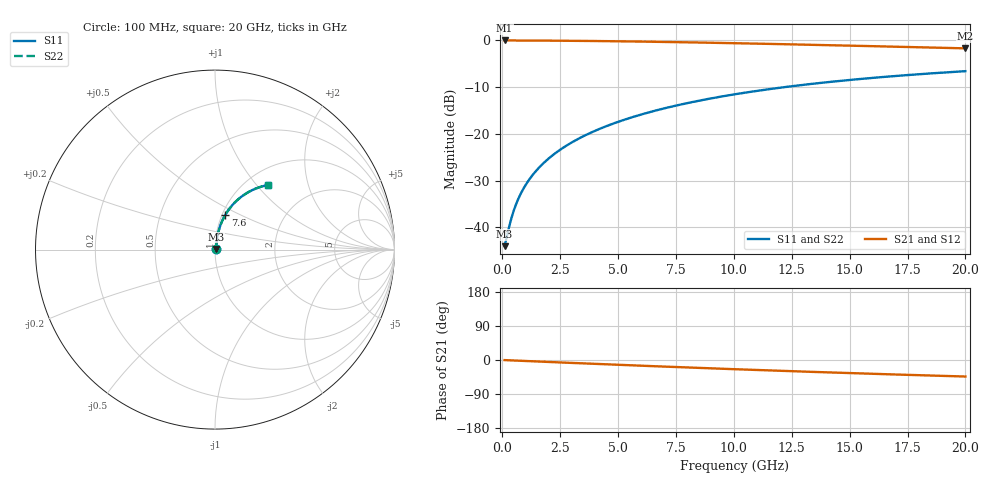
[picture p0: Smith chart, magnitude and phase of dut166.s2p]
! Touchstone file exported from HFSS 2024.1.0
!  File:  C:/UserFiles/LocalFiles/RDL_TSV_Batchsim/temp_RDL_top_166_1778685659.aedt
!  Generated:  11:23:13 PM May 13, 2026
!  Design:  RDL_top
!  Project:  temp_RDL_top_166_1778685659
!  Setup:  Setup1
!  Solution:  Sweep
! Variables:
!  dtsv = 10.80580581um
!  hbump = 3um
!  htsv = 99.98um
!  ldown = 100um
!  lrdl = 549.21um
!  p = 40
!  p1 = 52.28um
!  rhole = 1um
!  t = 450um
!  tdown = 3.915915916um
!  trdl = 2.32um
!  wdown = 15.38538539um
!  wrdl = 15.31um
# GHz S MA R 50.000000
! Terminal data exported
! Port[1] = Box2_T1
! Port[2] = Box2_T2
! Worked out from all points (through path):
!   200 points, 100 MHz to 20 GHz, reference 50 ohm
!   highest |S21| = -0.05 dB at 100 MHz (marker M1); lowest = -1.7 dB at 20 GHz (marker M2)
!   group delay of S21, straight-line fit = 6.06 ps
!   lowest |S11| = -44.0 dB at 100 MHz (marker M3), VSWR 1.01, Z = 50.6 + j0.287 ohm
!   |S11| at or under -10 dB: start of sweep to 12.22 GHz
!   |S22| runs from -44.0 to -6.6 dB; largest |S21 - S12| = 3.4e-15
!   S11 on the Smith chart (normalised r, x): 100 MHz: 1.01, +0.01; 7.6 GHz: 1.04, +0.42; 20 GHz: 1.25, +1.16
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0.1  0.006315 26.7  0.9944 -0.3  0.9944 -0.3  0.006315 26.7
! Gamma 0 0 0 0
! Port Impedance 50 0 50 0
0.3  0.01029 55.2  0.9941 -0.8  0.9941 -0.8  0.01029 55.2
0.4  0.01273 61.7  0.994 -1.1  0.994 -1.1  0.01273 61.7
0.5  0.01527 65.9  0.9938 -1.3  0.9938 -1.3  0.01527 65.9
0.6  0.01785 68.8  0.9936 -1.6  0.9936 -1.6  0.01785 68.8
0.7  0.02044 70.9  0.9934 -1.8  0.9934 -1.8  0.02044 70.9
0.9  0.02564 73.8  0.9929 -2.4  0.9929 -2.4  0.02564 73.8
1.2  0.03345 76.4  0.9922 -3.1  0.9922 -3.1  0.03345 76.4
1.4  0.03868 77.4  0.9917 -3.6  0.9917 -3.6  0.03868 77.4
1.7  0.04655 78.5  0.9909 -4.4  0.9909 -4.4  0.04655 78.5
2.2  0.05974 79.4  0.9892 -5.7  0.9892 -5.7  0.05974 79.4
2.8  0.07565 79.6  0.9869 -7.2  0.9869 -7.2  0.07565 79.6
3.5  0.09429 79.3  0.9836 -8.9  0.9836 -8.9  0.09429 79.3
4.2  0.113 78.7  0.9796 -10.7  0.9796 -10.7  0.113 78.7
5  0.1343 77.7  0.9744 -12.6  0.9744 -12.6  0.1343 77.7
5.9  0.1583 76.3  0.9678 -14.8  0.9678 -14.8  0.1583 76.3
6.8  0.182 74.8  0.9605 -17.0  0.9605 -17.0  0.182 74.8
7.6  0.2029 73.4  0.9535 -18.8  0.9535 -18.8  0.2029 73.4
10.1  0.2661 68.7  0.9291 -24.4  0.9291 -24.4  0.266 68.7
13.4  0.3426 62.3  0.8933 -31.4  0.8933 -31.4  0.3426 62.3
16.7  0.4097 56.2  0.8559 -37.7  0.8559 -37.7  0.4097 56.2
20  0.4671 50.5  0.8188 -43.6  0.8188 -43.6  0.467 50.4
